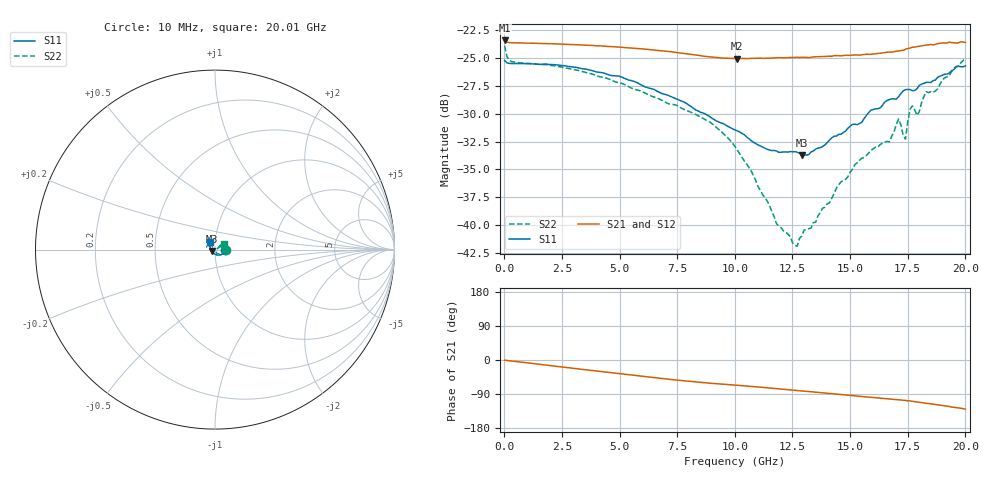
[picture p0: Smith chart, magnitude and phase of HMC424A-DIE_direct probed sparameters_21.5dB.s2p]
!s2p File: Measurements: S11, S21, S12, S22
# GHz S dB R 50.0
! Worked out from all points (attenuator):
!   201 points, 10 MHz to 20.01 GHz, reference 50 ohm
!   highest |S21| = -23.43 dB at 10 MHz (marker M1); lowest = -25.1 dB at 10.11 GHz (marker M2)
!   lowest |S11| = -33.7 dB at 12.91 GHz (marker M3), VSWR 1.04, Z = 48.2 - j0.924 ohm
!   |S11| at or under -10 dB: start of sweep to end of sweep
!   |S22| runs from -41.9 to -23.9 dB; largest |S21 - S12| = 0.00068
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0.01  -25.23 -0.3  -23.43 -0.3  -23.48 -0.2  -23.91 -1.8
0.11  -25.43 -1.5  -23.58 -1.4  -23.58 -1.4  -24.87 -5.3
0.31  -25.50 -2.4  -23.64 -2.6  -23.63 -2.6  -25.32 -4.9
3.41  -25.98 -23.6  -23.84 -24.9  -23.83 -24.9  -26.24 -26.0
6.71  -28.06 -51.0  -24.33 -47.9  -24.33 -47.9  -28.67 -45.3
8.91  -30.26 -74.4  -24.90 -61.1  -24.89 -61.1  -30.74 -56.9
10.01  -31.45 -90.3  -25.05 -66.3  -25.05 -66.2  -32.94 -63.8
10.11  -31.55 -91.5  -25.06 -66.8  -25.05 -66.7  -33.26 -64.4
11.81  -33.35 -126.3  -24.98 -75.5  -24.99 -75.4  -39.86 -50.7
12.61  -33.41 -144.1  -24.95 -80.0  -24.96 -80.0  -41.82 -23.9
12.91  -33.72 -152.3  -24.94 -81.6  -24.93 -81.6  -40.98 -8.9
13.41  -33.34 -164.3  -24.91 -84.2  -24.92 -84.2  -39.77 5.8
15.21  -30.95 161.3  -24.73 -94.7  -24.72 -94.6  -34.58 26.1
16.71  -28.73 140.9  -24.47 -103.0  -24.44 -103.0  -32.54 32.3
17.11  -28.48 139.4  -24.38 -105.3  -24.31 -105.3  -30.48 31.1
17.41  -27.85 135.9  -24.22 -106.7  -24.24 -107.2  -32.29 37.9
17.61  -27.84 133.0  -24.11 -108.0  -24.15 -108.5  -29.60 40.0
17.71  -27.94 132.3  -24.03 -109.1  -24.09 -109.3  -29.30 33.5
17.91  -27.77 132.0  -23.98 -110.9  -24.03 -110.8  -30.15 34.0
18.31  -27.19 127.1  -23.84 -114.2  -23.88 -114.1  -28.02 36.4
18.71  -26.98 127.5  -23.78 -117.3  -23.78 -117.1  -27.96 35.0
20.01  -25.71 125.1  -23.62 -129.7  -23.61 -129.6  -24.94 30.9
